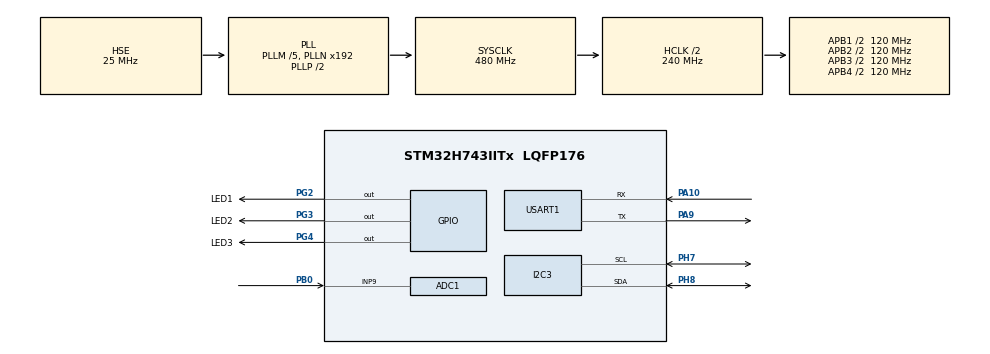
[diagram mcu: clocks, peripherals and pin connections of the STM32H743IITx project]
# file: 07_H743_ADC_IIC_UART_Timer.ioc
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ADC1.Channel-0\#ChannelRegularConversion=ADC_CHANNEL_9
ADC1.ClockPrescaler=ADC_CLOCK_ASYNC_DIV10
ADC1.ContinuousConvMode=ENABLE
ADC1.ConversionDataManagement=ADC_CONVERSIONDATA_DMA_CIRCULAR
ADC1.NbrOfConversion=1
ADC1.NbrOfConversionFlag=1
ADC1.OffsetNumber-0\#ChannelRegularConversion=ADC_OFFSET_NONE
ADC1.Rank-0\#ChannelRegularConversion=1
ADC1.Resolution=ADC_RESOLUTION_12B
ADC1.SamplingTime-0\#ChannelRegularConversion=ADC_SAMPLETIME_64CYCLES_5
ADC1.master=1
Dma.ADC1.0.Direction=DMA_PERIPH_TO_MEMORY
Dma.ADC1.0.EventEnable=DISABLE
Dma.ADC1.0.FIFOMode=DMA_FIFOMODE_DISABLE
Dma.ADC1.0.Instance=DMA1_Stream0
Dma.ADC1.0.MemDataAlignment=DMA_MDATAALIGN_HALFWORD
Dma.ADC1.0.MemInc=DMA_MINC_ENABLE
Dma.ADC1.0.Mode=DMA_CIRCULAR
Dma.ADC1.0.PeriphDataAlignment=DMA_PDATAALIGN_HALFWORD
Dma.ADC1.0.PeriphInc=DMA_PINC_DISABLE
Dma.ADC1.0.Polarity=HAL_DMAMUX_REQ_GEN_RISING
Dma.ADC1.0.Priority=DMA_PRIORITY_LOW
Dma.ADC1.0.RequestNumber=1
Dma.ADC1.0.SignalID=NONE
Dma.ADC1.0.SyncEnable=DISABLE
Dma.ADC1.0.SyncPolarity=HAL_DMAMUX_SYNC_NO_EVENT
Dma.ADC1.0.SyncRequestNumber=1
Dma.ADC1.0.SyncSignalID=NONE
Dma.Request0=ADC1
I2C3.Timing=0x307075B1
Mcu.Family=STM32H7
Mcu.Name=STM32H743IITx
Mcu.Package=LQFP176
NVIC.ADC_IRQn=true\:0\:0\:false\:false\:true\:true\:true
NVIC.DMA1_Stream0_IRQn=true\:0\:0\:false\:false\:true\:false\:true
NVIC.PriorityGroup=NVIC_PRIORITYGROUP_4
NVIC.TIM3_IRQn=true\:0\:0\:false\:false\:true\:true\:true
PA10.GPIO_PuPd=GPIO_PULLUP
PA10.Mode=Asynchronous
PA10.Signal=USART1_RX
PA9.GPIO_PuPd=GPIO_PULLUP
PA9.Mode=Asynchronous
PA9.Signal=USART1_TX
PB0.Signal=ADCx_INP9
PC14-OSC32_IN\ (OSC32_IN).Mode=LSE-External-Oscillator
PC14-OSC32_IN\ (OSC32_IN).Signal=RCC_OSC32_IN
PC15-OSC32_OUT\ (OSC32_OUT).Mode=LSE-External-Oscillator
PC15-OSC32_OUT\ (OSC32_OUT).Signal=RCC_OSC32_OUT
PG2.GPIO_Label=LED1
PG2.GPIO_PuPd=GPIO_PULLUP
PG2.PinState=GPIO_PIN_SET
PG2.Signal=GPIO_Output
PG3.GPIO_Label=LED2
PG3.GPIO_PuPd=GPIO_PULLUP
PG3.PinState=GPIO_PIN_SET
PG3.Signal=GPIO_Output
PG4.GPIO_Label=LED3
PG4.GPIO_PuPd=GPIO_PULLUP
PG4.PinState=GPIO_PIN_SET
PG4.Signal=GPIO_Output
PH0-OSC_IN\ (PH0).Mode=HSE-External-Oscillator
PH0-OSC_IN\ (PH0).Signal=RCC_OSC_IN
PH1-OSC_OUT\ (PH1).Mode=HSE-External-Oscillator
PH1-OSC_OUT\ (PH1).Signal=RCC_OSC_OUT
PH7.GPIO_PuPd=GPIO_NOPULL
PH7.Mode=I2C
PH7.Signal=I2C3_SCL
PH8.GPIO_PuPd=GPIO_NOPULL
PH8.Mode=I2C
PH8.Signal=I2C3_SDA
ProjectManager.HeapSize=0x200
ProjectManager.StackSize=0x400
ProjectManager.TargetToolchain=STM32CubeIDE
RCC.ADCFreq_Value=150000000
RCC.APB1Freq_Value=120000000
RCC.APB2Freq_Value=120000000
RCC.APB3Freq_Value=120000000
RCC.APB4Freq_Value=120000000
RCC.CortexFreq_Value=480000000
RCC.D1PPRE=RCC_APB3_DIV2
RCC.D2PPRE1=RCC_APB1_DIV2
RCC.D2PPRE2=RCC_APB2_DIV2
RCC.D3PPRE=RCC_APB4_DIV2
RCC.DIVM1=5
RCC.DIVM2=2
RCC.DIVN1=192
RCC.DIVN2=12
RCC.DIVP2=1
RCC.HCLKFreq_Value=240000000
RCC.HPRE=RCC_HCLK_DIV2
RCC.PLL2FRACN=0
RCC.PLL3FRACN=0
RCC.PLLFRACN=0
RCC.PLLSourceVirtual=RCC_PLLSOURCE_HSE
RCC.SYSCLKFreq_VALUE=480000000
RCC.SYSCLKSource=RCC_SYSCLKSOURCE_PLLCLK
RCC.USBFreq_Value=480000000
SH.ADCx_INP9.0=ADC1_INP9,IN9-Single-Ended
TIM3.Period=10000-1
TIM3.Prescaler=24000-1
USART1.VirtualMode-Asynchronous=VM_ASYNC
VP_TIM3_VS_ClockSourceINT.Mode=Internal
board=custom

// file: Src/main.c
/* USER CODE BEGIN Header */
/**
  ******************************************************************************
  * @file           : main.c
  * @brief          : Main program body
  ******************************************************************************
  * @attention
  *
  * <h2><center>&copy; Copyright (c) 2020 STMicroelectronics.
  * All rights reserved.</center></h2>
  *
  * This software component is licensed by ST under BSD 3-Clause license,
  * the "License"; You may not use this file except in compliance with the
  * License. You may obtain a copy of the License at:
  *                        opensource.org/licenses/BSD-3-Clause
  *
  ******************************************************************************
  */
/* USER CODE END Header */

#include "main.h"
#include "adc.h"
#include "dma.h"
#include "i2c.h"
#include "tim.h"
#include "usart.h"
#include "gpio.h"

/* USER CODE BEGIN Includes */
#include "stdio.h"
/* USER CODE END Includes */

/* USER CODE BEGIN PD */
#define HDC1080_ADDRESS 0x40 << 1
#define TEMPERATURE     0x00
#define HUMIDITY        0x01
/* USER CODE END PD */

/* USER CODE BEGIN PV */
uint32_t Main_loop = 0;
uint16_t Temperature_T = 0;
uint16_t Humidity_H    = 0;
uint8_t  Temperature_Humidity_Buffer[5] = {0};
float Temperature_Read;
float Humidity_Read;
/* USER CODE END PV */

void SystemClock_Config(void);

int main(void)
{

  /* MCU Configuration--------------------------------------------------------*/

  /* Reset of all peripherals, Initializes the Flash interface and the Systick. */
  HAL_Init();

  /* Configure the system clock */
  SystemClock_Config();

  /* Initialize all configured peripherals */
  MX_GPIO_Init();
  MX_DMA_Init();
  MX_ADC1_Init();
  MX_I2C3_Init();
  MX_USART1_UART_Init();
  MX_TIM3_Init();
  /* USER CODE BEGIN 2 */
  printf("System Go !!!\r\n");
  HAL_ADC_Start_DMA(&hadc1, ADC_Value, ADC_CONVERTED_DATA_BUFFER_SIZE);
  /* USER CODE END 2 */

  /* Infinite loop */
    while (1)
    {

    /* USER CODE BEGIN 3 */
        Temperature_Humidity_Buffer[0] = TEMPERATURE;
        HAL_I2C_Master_Transmit(&hi2c3, HDC1080_ADDRESS, Temperature_Humidity_Buffer, 1, 100);
        HAL_Delay(20);
        HAL_I2C_Master_Receive(&hi2c3, HDC1080_ADDRESS, Temperature_Humidity_Buffer, 2 ,100);
        Temperature_T = Temperature_Humidity_Buffer[0] << 8 | Temperature_Humidity_Buffer[1];
        Temperature_Read = (((float)Temperature_T / 65536) * 165.0) - 40.0;
        printf("\r\nTemperature is: %.2f\r\n", Temperature_Read);

        Temperature_Humidity_Buffer[0] = HUMIDITY;
        HAL_I2C_Master_Transmit(&hi2c3, HDC1080_ADDRESS, Temperature_Humidity_Buffer, 1, 100);
        HAL_Delay(20);
        HAL_I2C_Master_Receive(&hi2c3, HDC1080_ADDRESS, Temperature_Humidity_Buffer, 2 ,100);
        Humidity_H = Temperature_Humidity_Buffer[0] << 8 | Temperature_Humidity_Buffer[1];
        Humidity_Read = ((float)Humidity_H / 65536) * 100;
        printf("Humidity is: %.2f\r\n", Humidity_Read);
        printf("ADC_Value is: %lu\r\n\n", ADC_Value[0]);

        Main_loop++;
        HAL_Delay(1000);
    }
  /* USER CODE END 3 */
}

void SystemClock_Config(void)
{
  RCC_OscInitTypeDef RCC_OscInitStruct = {0};
  RCC_ClkInitTypeDef RCC_ClkInitStruct = {0};
  RCC_PeriphCLKInitTypeDef PeriphClkInitStruct = {0};

  /** Supply configuration update enable
  */
  HAL_PWREx_ConfigSupply(PWR_LDO_SUPPLY);
  /** Configure the main internal regulator output voltage
  */
  __HAL_PWR_VOLTAGESCALING_CONFIG(PWR_REGULATOR_VOLTAGE_SCALE0);

  while(!__HAL_PWR_GET_FLAG(PWR_FLAG_VOSRDY)) {}
  /** Macro to configure the PLL clock source
  */
  __HAL_RCC_PLL_PLLSOURCE_CONFIG(RCC_PLLSOURCE_HSE);
  /** Initializes the CPU, AHB and APB busses clocks
  */
  RCC_OscInitStruct.OscillatorType = RCC_OSCILLATORTYPE_HSE;
  RCC_OscInitStruct.HSEState = RCC_HSE_ON;
  RCC_OscInitStruct.PLL.PLLState = RCC_PLL_ON;
  RCC_OscInitStruct.PLL.PLLSource = RCC_PLLSOURCE_HSE;
  RCC_OscInitStruct.PLL.PLLM = 5;
  RCC_OscInitStruct.PLL.PLLN = 192;
  RCC_OscInitStruct.PLL.PLLP = 2;
  RCC_OscInitStruct.PLL.PLLQ = 2;
  RCC_OscInitStruct.PLL.PLLR = 2;
  RCC_OscInitStruct.PLL.PLLRGE = RCC_PLL1VCIRANGE_2;
  RCC_OscInitStruct.PLL.PLLVCOSEL = RCC_PLL1VCOWIDE;
  RCC_OscInitStruct.PLL.PLLFRACN = 0;
  if (HAL_RCC_OscConfig(&RCC_OscInitStruct) != HAL_OK)
  {
    Error_Handler();
  }
  /** Initializes the CPU, AHB and APB busses clocks
  */
  RCC_ClkInitStruct.ClockType = RCC_CLOCKTYPE_HCLK|RCC_CLOCKTYPE_SYSCLK
                              |RCC_CLOCKTYPE_PCLK1|RCC_CLOCKTYPE_PCLK2
                              |RCC_CLOCKTYPE_D3PCLK1|RCC_CLOCKTYPE_D1PCLK1;
  RCC_ClkInitStruct.SYSCLKSource = RCC_SYSCLKSOURCE_PLLCLK;
  RCC_ClkInitStruct.SYSCLKDivider = RCC_SYSCLK_DIV1;
  RCC_ClkInitStruct.AHBCLKDivider = RCC_HCLK_DIV2;
  RCC_ClkInitStruct.APB3CLKDivider = RCC_APB3_DIV2;
  RCC_ClkInitStruct.APB1CLKDivider = RCC_APB1_DIV2;
  RCC_ClkInitStruct.APB2CLKDivider = RCC_APB2_DIV2;
  RCC_ClkInitStruct.APB4CLKDivider = RCC_APB4_DIV2;

  if (HAL_RCC_ClockConfig(&RCC_ClkInitStruct, FLASH_LATENCY_4) != HAL_OK)
  {
    Error_Handler();
  }
  PeriphClkInitStruct.PeriphClockSelection = RCC_PERIPHCLK_USART1|RCC_PERIPHCLK_I2C3
                              |RCC_PERIPHCLK_ADC;
  PeriphClkInitStruct.PLL2.PLL2M = 2;
  PeriphClkInitStruct.PLL2.PLL2N = 12;
  PeriphClkInitStruct.PLL2.PLL2P = 1;
  PeriphClkInitStruct.PLL2.PLL2Q = 2;
  PeriphClkInitStruct.PLL2.PLL2R = 2;
  PeriphClkInitStruct.PLL2.PLL2RGE = RCC_PLL2VCIRANGE_3;
  PeriphClkInitStruct.PLL2.PLL2VCOSEL = RCC_PLL2VCOMEDIUM;
  PeriphClkInitStruct.PLL2.PLL2FRACN = 0;
  PeriphClkInitStruct.Usart16ClockSelection = RCC_USART16CLKSOURCE_D2PCLK2;
  PeriphClkInitStruct.I2c123ClockSelection = RCC_I2C123CLKSOURCE_D2PCLK1;
  PeriphClkInitStruct.AdcClockSelection = RCC_ADCCLKSOURCE_PLL2;
  if (HAL_RCCEx_PeriphCLKConfig(&PeriphClkInitStruct) != HAL_OK)
  {
    Error_Handler();
  }
}

void Error_Handler(void)
{
}

/************************ (C) COPYRIGHT STMicroelectronics *****END OF FILE****/
